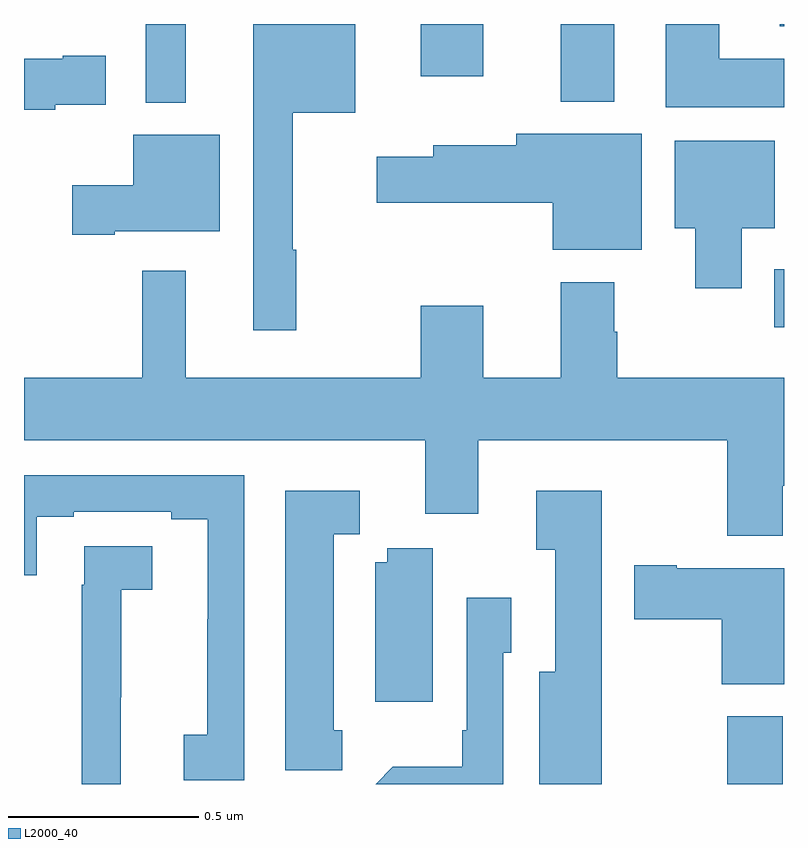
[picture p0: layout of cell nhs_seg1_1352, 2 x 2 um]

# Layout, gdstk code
import gdstk
lib = gdstk.Library(unit=1e-6, precision=1e-09)
def R(c, l, rs):  # rectangles x0, y0, x1, y1
    for r in rs: c.add(gdstk.rectangle(r[:2], r[2:], *l))
def P(c, l, *ps):  # polygons
    for p in ps: c.add(gdstk.Polygon(p, *l))
L2000_40 = (2000, 40)

nhs_seg1_1352 = lib.new_cell('nhs_seg1_1352')
R(nhs_seg1_1352, L2000_40, [(129.85,512.199,129.997,512.377), (129.974,513.401,130,513.553), (128.321,513.992,128.425,514.199), (129.413,513.995,129.553,514.199), (129.044,514.062,129.208,514.199), (129.989,514.193,130,514.199)])
P(nhs_seg1_1352, L2000_40, [(128.717,513.605),(128.707,513.605),(128.707,513.965),(128.872,513.965),(128.872,514.199),(128.603,514.199),(128.603,513.393),(128.717,513.393)],
  [(130,514.108),(129.829,514.108),(129.829,514.199),(129.689,514.199),(129.689,513.98),(130,513.98)],
  [(128.082,513.986),(128.215,513.986),(128.215,514.116),(128.102,514.116),(128.102,514.108),(128,514.108),(128,513.974),(128.082,513.974)],
  [(129.625,513.91),(129.296,513.91),(129.296,513.88),(129.077,513.88),(129.077,513.85),(128.928,513.85),(128.928,513.728),(129.392,513.728),(129.392,513.605),(129.625,513.605)],
  [(128.239,513.653),(128.515,513.653),(128.515,513.907),(128.288,513.907),(128.288,513.775),(128.127,513.775),(128.127,513.645),(128.239,513.645)],
  [(129.889,513.662),(129.976,513.662),(129.976,513.892),(129.713,513.892),(129.713,513.662),(129.767,513.662),(129.767,513.504),(129.889,513.504)],
  [(129.997,512.984),(130,512.984),(130,513.268),(129.561,513.268),(129.561,513.389),(129.553,513.389),(129.553,513.52),(129.413,513.52),(129.413,513.268),(129.208,513.268),(129.208,513.457),(129.044,513.457),(129.044,513.268),(128.425,513.268),(128.425,513.55),(128.311,513.55),(128.311,513.268),(128,513.268),(128,513.104),(129.056,513.104),(129.056,512.91),(129.196,512.91),(129.196,513.104),(129.85,513.104),(129.85,512.852),(129.997,512.852)],
  [(128.58,513.012),(128,513.012),(128,512.749),(128.034,512.749),(128.034,512.902),(128.131,512.902),(128.131,512.916),(128.387,512.916),(128.387,512.896),(128.483,512.896),(128.483,512.633),(128.482,512.633),(128.482,512.329),(128.421,512.329),(128.421,512.209),(128.58,512.209)],
  [(128.837,512.34),(128.815,512.34),(128.815,512.856),(128.884,512.856),(128.884,512.971),(128.687,512.971),(128.687,512.235),(128.837,512.235)],
  [(129.52,512.971),(129.348,512.971),(129.348,512.815),(129.398,512.815),(129.398,512.494),(129.356,512.494),(129.356,512.199),(129.52,512.199)],
  [(128.254,512.427),(128.256,512.427),(128.256,512.71),(128.338,512.71),(128.338,512.825),(128.158,512.825),(128.158,512.723),(128.152,512.723),(128.152,512.199),(128.254,512.199)],
  [(129.076,512.819),(128.956,512.819),(128.956,512.782),(128.924,512.782),(128.924,512.415),(129.076,512.415)],
  [(130,512.767),(129.718,512.767),(129.718,512.775),(129.606,512.775),(129.606,512.633),(129.836,512.633),(129.836,512.462),(130,512.462)],
  [(129.261,512.544),(129.282,512.544),(129.282,512.689),(129.165,512.689),(129.165,512.341),(129.153,512.341),(129.153,512.245),(128.971,512.245),(128.925,512.199),(129.261,512.199)])

lib.write_gds('nhs_seg1_1352.gds')
